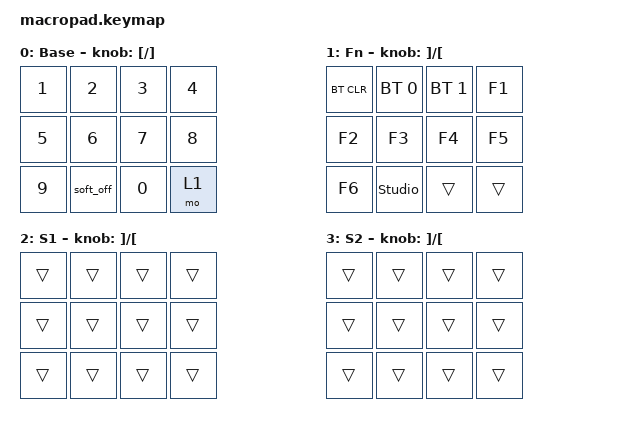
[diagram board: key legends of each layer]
#include <behaviors.dtsi>
#include <dt-bindings/zmk/keys.h>
#include <dt-bindings/zmk/bt.h>
#include <dt-bindings/zmk/outputs.h>

/* This overrides the first sensor globally to fix the bounce */
&sensors {
    status = "okay";
    sensor_1 {
        triggers-per-rotation = <24>;
    };
};

/ {
    keymap {
        compatible = "zmk,keymap";

        default_layer {
            display-name = "Base";
            bindings = <
                &kp N1    &kp N2    &kp N3
                &kp N4    &kp N5    &kp N6
                &kp N7    &kp N8    &kp N9
                &soft_off &kp N0    &mo 1
            >;
            sensor-bindings = <&inc_dec_kp LBKT RBKT>;
        };

        fn_layer {
            display-name = "Fn";
            bindings = <
                &bt BT_CLR     &bt BT_SEL 0  &bt BT_SEL 1
                &kp F1         &kp F2        &kp F3
                &kp F4         &kp F5        &kp F6
                &studio_unlock &trans        &trans
            >;
            sensor-bindings = <&inc_dec_kp RBKT LBKT>;
        };

        extra_layer_1 {
            display-name = "S1";
            bindings = <
                &trans &trans &trans
                &trans &trans &trans
                &trans &trans &trans
                &trans &trans &trans
            >;
            sensor-bindings = <&inc_dec_kp RBKT LBKT>;
        };

        extra_layer_2 {
            display-name = "S2";
            bindings = <
                &trans &trans &trans
                &trans &trans &trans
                &trans &trans &trans
                &trans &trans &trans
            >;
            sensor-bindings = <&inc_dec_kp RBKT LBKT>;
        };
    };
};
